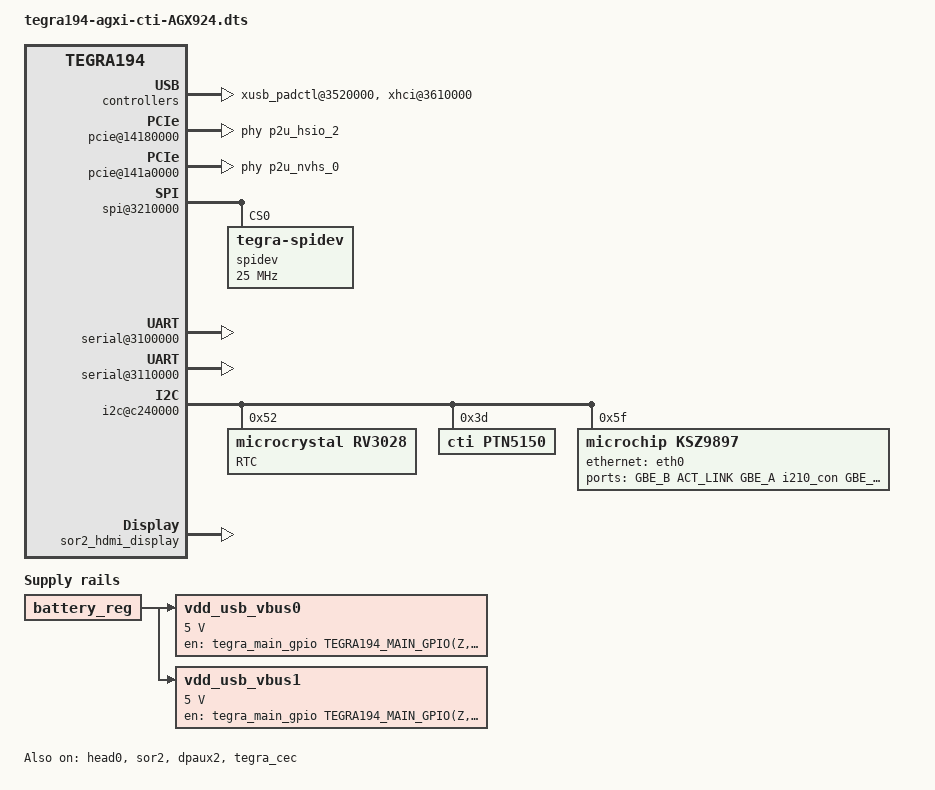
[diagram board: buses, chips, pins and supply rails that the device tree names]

#include "../../../galen/kernel-dts/cti/tegra194-agx-cti-base.dtsi"
#include "../common/tegra194-p2888-0008-p2822-0000.dtsi"
/{

    nvidia,dtsfilename = "tegra194-agxi-cti-AGX924.dts";
   
    eth0: ethernet@2490000{
        /delete-property/ nvidia,phy-reset-gpio;
    //    /delete-property/ phy-mode;
        /delete-property/ phy-handle;
        /delete-node/ mdio;
        fixed-link {
            speed = <1000>; //was 1000
            full-duplex;
        };
    };

    fixed-regulators {
        //USB VBUS 5V
        vdd_usb_vbus0: regulator@114 {
            compatible = "regulator-fixed";
            reg = <114>;
            regulator-name = "vdd-usb-vbus0";
            regulator-min-microvolt = <5000000>;
            regulator-max-microvolt = <5000000>;
            gpio = <&tegra_main_gpio TEGRA194_MAIN_GPIO(Z, 1) 0>;
            enable-active-high;
            vin-supply = <&battery_reg>;
        };
        vdd_usb_vbus1: regulator@115 {
            compatible = "regulator-fixed";
            reg = <114>;
            regulator-name = "vdd-usb-vbus1";
            regulator-min-microvolt = <5000000>;
            regulator-max-microvolt = <5000000>;
            gpio = <&tegra_main_gpio TEGRA194_MAIN_GPIO(Z, 2) 0>;
            enable-active-low;
            vin-supply = <&battery_reg>;

        };
        
    };
    xusb_padctl@3520000 {
        status = "okay";
        pads {
            usb2 {
                lanes {
                    usb2-0 {
                        status = "okay";
                    };
                    usb2-1 {
                        status = "okay";
                    };
                    usb2-2 {
                        status = "disabled";
                    };
                    usb2-3 {
                        status = "disabled";
                    };
                };
            };
            usb3 {
                lanes {
                    usb3-0 {
                        status = "okay";
                    };
                    usb3-1 {
                        status = "disabled";
                    };
                    usb3-2 {
                        status = "okay";
                    };
                    usb3-3 {
                        status = "disabled";
                    };
                };
            };
        };
        ports {
            usb2-0 {
                status = "okay";
                vbus-supply = <&vdd_usb_vbus0>;
            };
            usb2-1 {
                status = "okay";
                vbus-supply = <&vdd_usb_vbus1>;
            };
            usb2-2 {
                status = "disabled";
            };
            usb2-3 {
                status = "disabled";
                vbus-supply = <&vdd_usb_vbus1>;
            };
            usb3-0 {
                nvidia,usb2-companion = <1>;
                status = "okay";
            };
            usb3-1{
                status = "disabled";
            };
            usb3-2 {
                nvidia,usb2-companion = <0>;
                status = "okay";
            };
            usb3-3 {
                nvidia,usb2-companion = <3>;
                status = "disabled"; 
            };
        };
    };

    xhci@3610000 {
        status = "okay";
        phys = <&{/xusb_padctl@3520000/pads/usb2/lanes/usb2-0}>,
            <&{/xusb_padctl@3520000/pads/usb2/lanes/usb2-1}>,
            <&{/xusb_padctl@3520000/pads/usb2/lanes/usb2-3}>,
            <&{/xusb_padctl@3520000/pads/usb2/lanes/usb2-2}>,
            <&{/xusb_padctl@3520000/pads/usb3/lanes/usb3-0}>,
            <&{/xusb_padctl@3520000/pads/usb3/lanes/usb3-2}>,
            <&{/xusb_padctl@3520000/pads/usb3/lanes/usb3-3}>;
        phy-names = "usb2-0", "usb2-1", "usb2-3", "usb2-2",
                    "usb3-0", "usb3-2", "usb3-3";
    };

    pcie@14100000 {
        status = "disabled";
        phys = <&p2u_hsio_0>;
        phy-names = "p2u-0";
    };

    pcie@14140000 {
        status = "disabled";
        phys = <&p2u_hsio_7>;
        phy-names = "p2u-0";
    };

    pcie@14180000 {
        status = "okay";
        phys = <&p2u_hsio_2>, <&p2u_hsio_3>, <&p2u_hsio_4>, <&p2u_hsio_5>;
        phy-names = "p2u-0", "p2u-1", "p2u-2", "p2u-3";

    };

    pcie@141a0000 {
        status = "okay";

        phys =  <&p2u_nvhs_0>, <&p2u_nvhs_1>, <&p2u_nvhs_2>, <&p2u_nvhs_3>;

        phy-names = "p2u-0", "p2u-1", "p2u-2", "p2u-3";
    };

    spi@3210000{
        status = "okay";
        spidev@0 {
            compatible = "tegra-spidev";
            reg = <0>;
            spi-max-frequency = <25000000>;
        };
    };
	
	//enabling i/o
	sdhci@3400000{
		status = "disabled";
	};
	
	serial@3100000{
		status = "okay";
	};
	
	serial@3110000{
		status = "okay";
	};
	
	mttcan@c310000{
		status = "disabled";
	};
	
	mttcan@c320000{
		status = "disabled";
	};	
    i2c@c240000{
        RTC@52{
            reg=<0x52>;
            compatible="microcrystal,rv3028";
        };

        ptn5150@3d{
            compatible = "cti,ptn5150";
            reg = <0x3d>;
            cti,optional;
            status = "okay";
            connector@0 {
                compatible = "usb-c-connector";
                label = "USB-C";
                data-role = "host";
                power-opmode = "1.5A";

            };
        };

        ksz9897@5f{
            compatible = "microchip,ksz9897";
            reg=<0x5f>;
            status="okay";
            ports{
                #address-cells = <1>;
                #size-cells = <0>;

                port@0{
                    reg = <0>;
                    label = "GBE_B";
                };

                port@1{
                    reg = <1>;
                    label = "ACT_LINK";
                };

                port@2{
                    reg = <2>;
                    label = "GBE_A";
                };

                port@3{
                    reg = <3>;
                    label = "i210_con";
                };
                port@4{
                    reg = <4>;
                    label = "GBE_C";
                };
                port@5{
                    reg = <5>;
                    label = "eth0";
                    ethernet = <&eth0>;
                    ingress-delay-en = <1>;
                    phy-mode = "rgmii";
                    fixed-link {
                        speed = <1000>;
                        full-duplex;
                    };
                };

            };
            
        };

    };
};

&tegra_rtc{
    status = "disabled"; //disable internal rtc in favor of external rtc
};

//sor2
&head0 {
    status = "okay";
};

&sor2 {
    status = "okay";
    nvidia,active-panel = <&sor2_hdmi_display>;
};

&sor2_hdmi_display {
    status = "okay";
};

&dpaux2 {
    status = "okay";
};

&tegra_cec {
    status = "okay";
};

